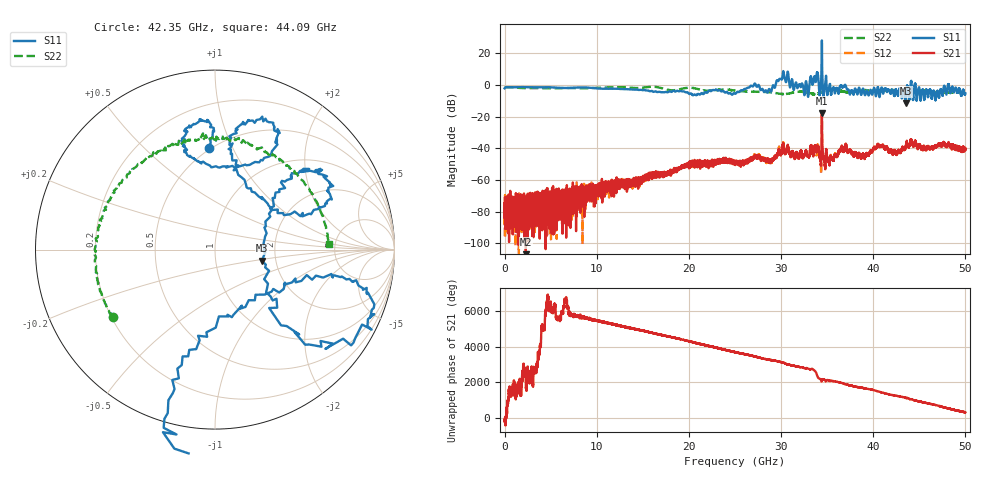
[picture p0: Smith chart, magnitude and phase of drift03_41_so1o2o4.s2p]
!Created with skrf (http://scikit-rf.org).
# Hz S RI R 50.0
!freq ReS11 ImS11 ReS21 ImS21 ReS12 ImS12 ReS22 ImS22
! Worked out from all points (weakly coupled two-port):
!   10000 points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, 5.3 MHz to 50 GHz, reference 50 ohm
!   highest |S21| = -17.67 dB at 34.43 GHz (marker M1); lowest = -112.8 dB at 2.305 GHz (marker M2)
!   lowest |S11| = -11.4 dB at 43.53 GHz (marker M3), VSWR 1.73, Z = 84.4 - j11.3 ohm
!   |S11| at or under -10 dB: 43.48772 GHz to 43.54373 GHz (56.01 MHz wide, 0.129 % of centre)
!   |S22| runs from -5.8 to -1.1 dB; largest |S21 - S12| = 0.029
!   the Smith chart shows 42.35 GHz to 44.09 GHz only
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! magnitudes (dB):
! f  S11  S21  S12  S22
! 5.3 MHz  -2.1  -83.1  -75.0  -1.3
! 2.305 GHz  -1.3  -112.8  -76.9  -2.0
! 8.34 GHz  -1.5  -68.3  -72.0  -2.1
! 16.67 GHz  -4.4  -56.0  -56.7  -1.5
! 20.47 GHz  -6.5  -49.4  -51.1  -1.9
! 25.01 GHz  -5.5  -49.0  -49.2  -3.5
! 27.02 GHz  -0.3  -46.4  -45.6  -4.2
! 28.72 GHz  -2.5  -47.8  -48.4  -4.5
! 30.14 GHz  4.4  -40.3  -40.0  -5.7
! 32.74 GHz  2.0  -42.5  -42.1  -4.6
! 33.34 GHz  2.6  -40.3  -40.0  -5.6
! 33.82 GHz  4.0  -41.3  -41.7  -5.7
! 34.43 GHz  28.2  -17.7  -18.9  -4.6
! 35.31 GHz  0.7  -47.2  -46.2  -3.3
! 36.84 GHz  -0.7  -42.0  -41.7  -4.3
! 38.87 GHz  -2.5  -43.8  -44.2  -3.2
! 40.58 GHz  -3.1  -38.0  -38.0  -4.1
! 41.67 GHz  -3.0  -42.1  -41.8  -3.3
! 43.53 GHz  -11.4  -38.5  -38.7  -4.3
! 46.94 GHz  -4.0  -38.7  -38.5  -4.8
! 48.32 GHz  -4.4  -38.1  -38.4  -4.6
! 50 GHz  -5.3  -40.7  -40.9  -4.5
